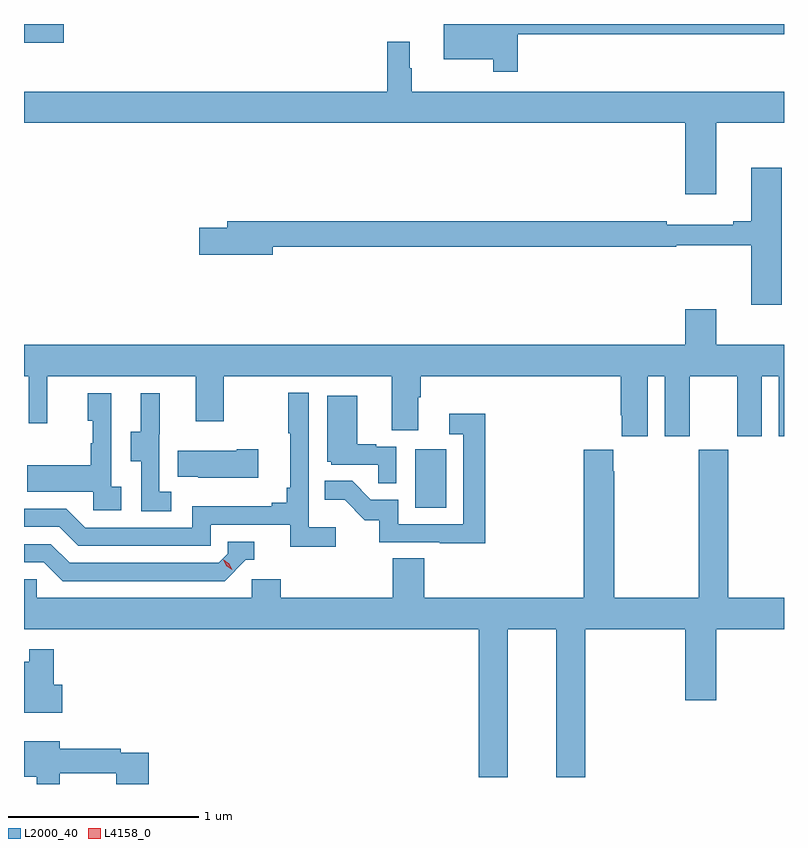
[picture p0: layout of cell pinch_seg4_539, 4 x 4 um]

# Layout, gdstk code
import gdstk
lib = gdstk.Library(unit=1e-6, precision=1e-09)
def R(c, l, rs):  # rectangles x0, y0, x1, y1
    for r in rs: c.add(gdstk.rectangle(r[:2], r[2:], *l))
def P(c, l, *ps):  # polygons
    for p in ps: c.add(gdstk.Polygon(p, *l))
L2000_40 = (2000, 40)
L4158_0 = (4158, 0)

pinch_seg4_539 = lib.new_cell('pinch_seg4_539')
R(pinch_seg4_539, L2000_40, [(1134.614,786.804,1134.778,787.111), (1132.556,789.251,1132.765,789.349)])
P(pinch_seg4_539, L2000_40, [(1135.154,789.294),(1136.556,789.294),(1136.556,789.349),(1134.764,789.349),(1134.764,789.164),(1135.026,789.164),(1135.026,789.099),(1135.154,789.099)],
  [(1136.2,788.828),(1136.556,788.828),(1136.556,788.992),(1134.598,788.992),(1134.598,789.116),(1134.586,789.116),(1134.586,789.256),(1134.469,789.256),(1134.469,788.992),(1132.556,788.992),(1132.556,788.828),(1136.036,788.828),(1136.036,788.454),(1136.2,788.454)],
  [(1136.545,788.593),(1136.384,788.593),(1136.384,788.312),(1136.288,788.312),(1136.288,788.293),(1135.94,788.293),(1135.94,788.312),(1133.627,788.312),(1133.627,788.276),(1133.478,788.276),(1133.478,788.134),(1133.866,788.134),(1133.866,788.176),(1135.988,788.176),(1135.988,788.184),(1136.384,788.184),(1136.384,787.872),(1136.545,787.872)],
  [(1135.84,787.496),(1135.928,787.496),(1135.928,787.179),(1136.059,787.179),(1136.059,787.496),(1136.309,787.496),(1136.309,787.179),(1136.44,787.179),(1136.44,787.496),(1136.528,787.496),(1136.528,787.179),(1136.556,787.179),(1136.556,787.66),(1136.2,787.66),(1136.2,787.849),(1136.036,787.849),(1136.036,787.66),(1132.556,787.66),(1132.556,787.496),(1132.581,787.496),(1132.581,787.248),(1132.679,787.248),(1132.679,787.496),(1133.459,787.496),(1133.459,787.257),(1133.607,787.257),(1133.607,787.496),(1134.491,787.496),(1134.491,787.21),(1134.631,787.21),(1134.631,787.384),(1134.644,787.384),(1134.644,787.496),(1135.697,787.496),(1135.697,787.291),(1135.703,787.291),(1135.703,787.179),(1135.84,787.179)],
  [(1134.196,786.7),(1134.054,786.7),(1134.054,787.408),(1133.946,787.408),(1133.946,787.195),(1133.957,787.195),(1133.957,786.907),(1133.938,786.907),(1133.938,786.83),(1133.861,786.83),(1133.861,786.811),(1133.442,786.811),(1133.442,786.699),(1132.878,786.699),(1132.779,786.798),(1132.556,786.798),(1132.556,786.702),(1132.742,786.702),(1132.841,786.603),(1133.538,786.603),(1133.538,786.714),(1133.957,786.714),(1133.957,786.598),(1134.196,786.598)],
  [(1133.068,786.914),(1133.016,786.914),(1133.016,787.405),(1132.892,787.405),(1132.892,787.26),(1132.918,787.26),(1132.918,787.142),(1132.908,787.142),(1132.908,787.027),(1132.573,787.027),(1132.573,786.887),(1132.92,786.887),(1132.92,786.789),(1133.068,786.789)],
  [(1133.332,786.887),(1133.268,786.887),(1133.268,787.191),(1133.27,787.191),(1133.27,787.405),(1133.171,787.405),(1133.171,787.203),(1133.117,787.203),(1133.117,787.048),(1133.172,787.048),(1133.172,786.784),(1133.332,786.784)],
  [(1134.516,787.125),(1134.41,787.125),(1134.41,787.138),(1134.31,787.138),(1134.31,787.393),(1134.152,787.393),(1134.152,787.044),(1134.174,787.044),(1134.174,787.029),(1134.421,787.029),(1134.421,786.931),(1134.516,786.931)],
  [(1134.983,787.297),(1134.795,787.297),(1134.795,787.191),(1134.867,787.191),(1134.867,786.717),(1134.525,786.717),(1134.525,786.846),(1134.381,786.846),(1134.283,786.944),(1134.139,786.944),(1134.139,786.845),(1134.243,786.845),(1134.35,786.738),(1134.427,786.738),(1134.427,786.621),(1134.745,786.621),(1134.745,786.616),(1134.983,786.616)],
  [(1133.788,787.11),(1133.675,787.11),(1133.675,787.102),(1133.365,787.102),(1133.365,786.965),(1133.473,786.965),(1133.473,786.962),(1133.788,786.962)],
  [(1135.102,786.164),(1135.358,786.164),(1135.358,785.385),(1135.511,785.385),(1135.511,786.164),(1136.036,786.164),(1136.036,785.79),(1136.2,785.79),(1136.2,786.164),(1136.556,786.164),(1136.556,786.328),(1136.262,786.328),(1136.262,787.108),(1136.107,787.108),(1136.107,786.328),(1135.662,786.328),(1135.662,786.995),(1135.657,786.995),(1135.657,787.108),(1135.502,787.108),(1135.502,786.328),(1134.662,786.328),(1134.662,786.536),(1134.497,786.536),(1134.497,786.328),(1133.906,786.328),(1133.906,786.426),(1133.754,786.426),(1133.754,786.328),(1132.623,786.328),(1132.623,786.426),(1132.556,786.426),(1132.556,786.164),(1134.95,786.164),(1134.95,785.385),(1135.102,785.385)],
  [(1133.724,786.528),(1133.767,786.528),(1133.767,786.624),(1133.628,786.624),(1133.628,786.561),(1133.58,786.513),(1132.797,786.513),(1132.698,786.612),(1132.556,786.612),(1132.556,786.516),(1132.661,786.516),(1132.76,786.417),(1133.613,786.417)],
  [(1132.756,785.871),(1132.712,785.871),(1132.712,786.058),(1132.584,786.058),(1132.584,785.992),(1132.556,785.992),(1132.556,785.723),(1132.756,785.723)],
  [(1132.744,785.406),(1133.042,785.406),(1133.042,785.349),(1133.213,785.349),(1133.213,785.514),(1133.066,785.514),(1133.066,785.534),(1132.744,785.534),(1132.744,785.575),(1132.556,785.575),(1132.556,785.387),(1132.622,785.387),(1132.622,785.349),(1132.744,785.349)])
P(pinch_seg4_539, L4158_0, [(1133.653,786.476),(1133.622,786.495),(1133.605,786.528),(1133.605,786.528),(1133.606,786.528),(1133.636,786.509),(1133.653,786.476),(1133.653,786.476)])

lib.write_gds('pinch_seg4_539.gds')
